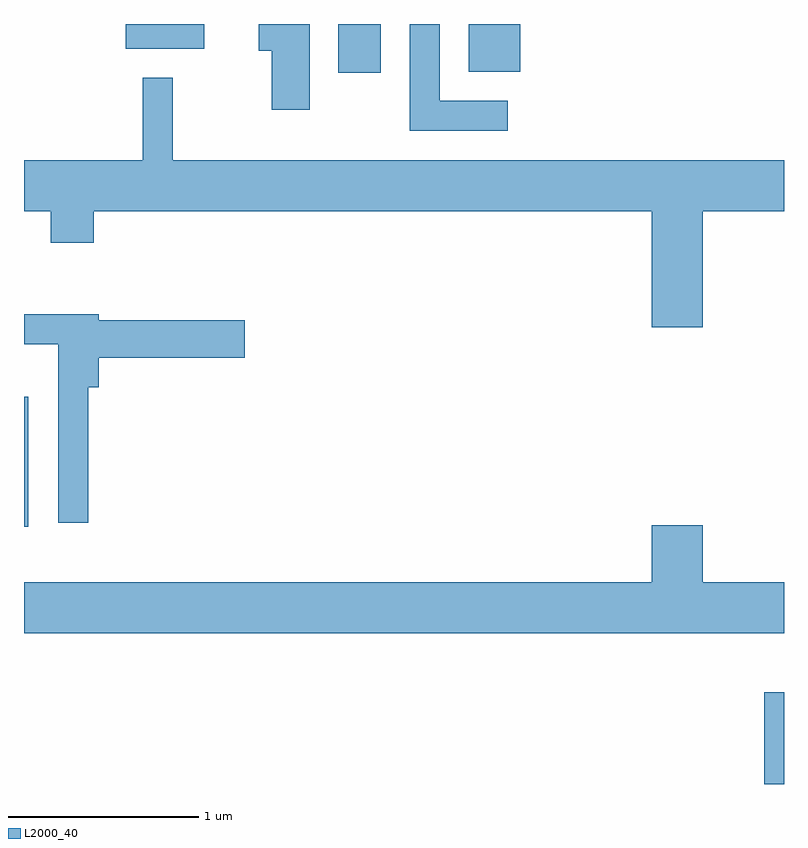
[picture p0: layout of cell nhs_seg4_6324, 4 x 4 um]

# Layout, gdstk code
import gdstk
lib = gdstk.Library(unit=1e-6, precision=1e-09)
def R(c, l, rs):  # rectangles x0, y0, x1, y1
    for r in rs: c.add(gdstk.rectangle(r[:2], r[2:], *l))
def P(c, l, *ps):  # polygons
    for p in ps: c.add(gdstk.Polygon(p, *l))
L2000_40 = (2000, 40)

nhs_seg4_6324 = lib.new_cell('nhs_seg4_6324')
R(nhs_seg4_6324, L2000_40, [(375.506,1253.982,375.611,1254.464), (371.611,1255.336,371.634,1256.019), (373.266,1257.726,373.489,1257.982), (373.951,1257.731,374.224,1257.982), (372.146,1257.851,372.559,1257.982)])
P(nhs_seg4_6324, L2000_40, [(374.158,1257.579),(373.799,1257.579),(373.799,1257.982),(373.641,1257.982),(373.641,1257.421),(374.158,1257.421)],
  [(373.114,1257.982),(372.846,1257.982),(372.846,1257.841),(372.916,1257.841),(372.916,1257.531),(373.114,1257.531)],
  [(375.184,1256.996),(375.611,1256.996),(375.611,1257.264),(372.394,1257.264),(372.394,1257.698),(372.236,1257.698),(372.236,1257.264),(371.611,1257.264),(371.611,1256.996),(371.751,1256.996),(371.751,1256.831),(371.979,1256.831),(371.979,1256.996),(374.916,1256.996),(374.916,1256.386),(375.184,1256.386)],
  [(371.949,1256.071),(372.004,1256.071),(372.004,1256.226),(372.774,1256.226),(372.774,1256.424),(372.004,1256.424),(372.004,1256.454),(371.611,1256.454),(371.611,1256.296),(371.791,1256.296),(371.791,1255.358),(371.949,1255.358)],
  [(375.611,1255.044),(375.184,1255.044),(375.184,1255.344),(374.916,1255.344),(374.916,1255.044),(371.611,1255.044),(371.611,1254.776),(375.611,1254.776)])

lib.write_gds('nhs_seg4_6324.gds')
